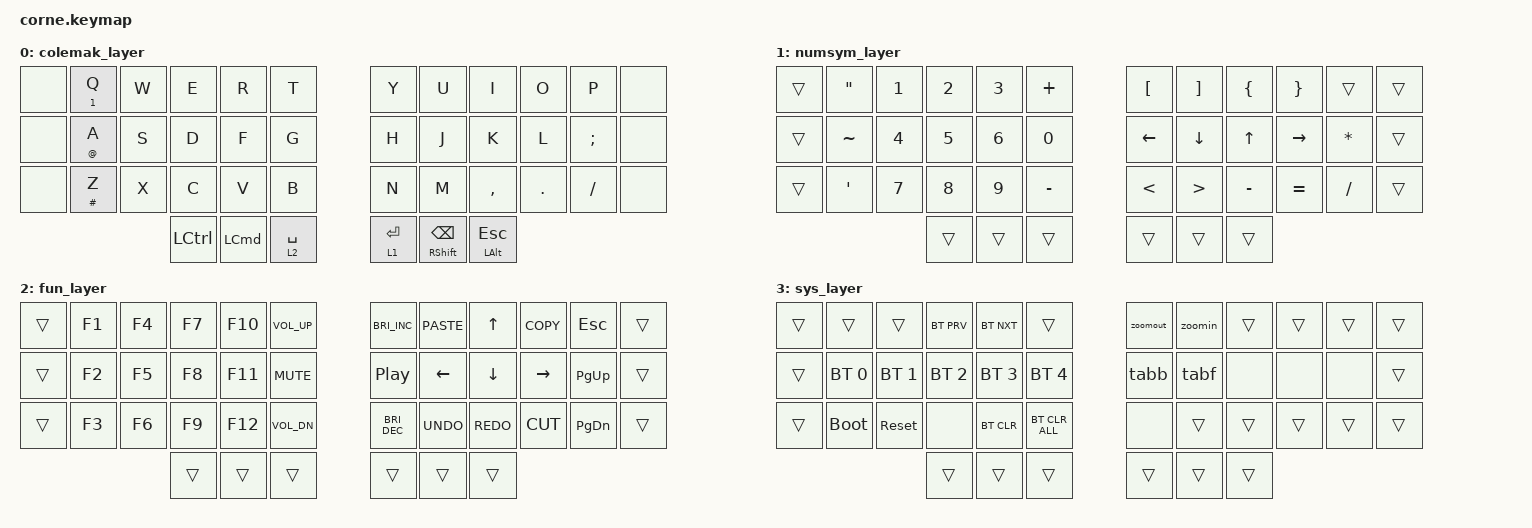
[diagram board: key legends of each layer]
/*
 * Copyright (c) 2020 The ZMK Contributors
 *
 * SPDX-License-Identifier: MIT
 */

#include <behaviors.dtsi>
#include <dt-bindings/zmk/bt.h>
#include <dt-bindings/zmk/keys.h>

&mt {
    tapping-term-ms = <400>;
    quick-tap-ms = <175>;
    require-prior-idle-ms = <150>;
    flavor = "balanced";
};

&lt { tapping-term-ms = <400>; };

/ {
    combos {
        compatible = "zmk,combos";

        combo_esc {
            timeout-ms = <50>;
            key-positions = <1 2>;
            bindings = <&kp ESCAPE>;
        };

        combo_bksp {
            timeout-ms = <50>;
            key-positions = <10 9>;
            bindings = <&kp BACKSPACE>;
        };

        combo_tab {
            bindings = <&kp TAB>;
            key-positions = <13 14>;
        };

        combo_shift {
            bindings = <&kp LEFT_SHIFT>;
            key-positions = <25 26>;
        };

        combo_delete {
            bindings = <&kp DELETE>;
            key-positions = <21 22>;
        };

        combo_rshift {
            bindings = <&kp RIGHT_SHIFT>;
            key-positions = <33 34>;
        };

        exclm {
            bindings = <&kp EXCLAMATION>;
            key-positions = <1 13>;
        };

        at {
            bindings = <&kp AT_SIGN>;
            key-positions = <2 14>;
        };

        hash {
            bindings = <&kp HASH>;
            key-positions = <3 15>;
        };

        dllr {
            bindings = <&kp DOLLAR>;
            key-positions = <4 16>;
        };

        percnt {
            bindings = <&kp PERCENT>;
            key-positions = <5 17>;
        };

        caret {
            bindings = <&kp CARET>;
            key-positions = <6 18>;
        };

        and {
            bindings = <&kp AMPERSAND>;
            key-positions = <7 19>;
        };

        str {
            bindings = <&kp ASTERISK>;
            key-positions = <8 20>;
        };

        leftparen {
            bindings = <&kp LPAR>;
            key-positions = <9 21>;
        };

        rparen {
            bindings = <&kp RPAR>;
            key-positions = <10 22>;
        };

        layout_switch {
            bindings = <&tog 0>;
            key-positions = <36 37 40 41>;
        };

        system_reset {
            bindings = <&sys_reset>;
            key-positions = <3 4 5>;
        };

        bootloader {
            bindings = <&bootloader>;
            key-positions = <15 16 17>;
        };

        system_layer_combo {
            bindings = <&mo 3>;
            key-positions = <36 37>;
        };

        safe {
            bindings = <&zoomin>;
            key-positions = <34 22>;
        };

        zoomout {
            bindings = <&zoomout>;
            key-positions = <33 21>;
        };

        tabb {
            bindings = <&tabb>;
            key-positions = <30 18>;
        };

        tabf {
            bindings = <&tabf>;
            key-positions = <31 19>;
        };

        saves {
            bindings = <&save>;
            key-positions = <26 14>;
        };

        copies {
            bindings = <&copy>;
            key-positions = <27 15>;
        };

        pastes {
            bindings = <&paste>;
            key-positions = <28 16>;
        };

        wordl {
            bindings = <&wordl>;
            key-positions = <18 19>;
        };

        wordr {
            bindings = <&wordr>;
            key-positions = <19 20>;
        };

        undere {
            bindings = <&underline>;
            key-positions = <27 28>;
        };

        bold {
            bindings = <&bold>;
            key-positions = <4 3>;
        };

        strike {
            bindings = <&strike>;
            key-positions = <15 16>;
        };

        poy {
            bindings = <&pp>;
            key-positions = <40 41>;
        };

        eeee {
            bindings = <&email>;
            key-positions = <40 41 30>;
        };

        ppppp {
            bindings = <&num>;
            key-positions = <40 41 31>;
        };
    };

    conditional_layers { compatible = "zmk,conditional-layers"; };

    macros {
        zoomin: aaa {
            compatible = "zmk,behavior-macro";
            #binding-cells = <0>;
            bindings =
                <&macro_press>,
                <&kp LEFT_COMMAND>,
                <&macro_tap>,
                <&kp PLUS>,
                <&macro_release>,
                <&kp LEFT_COMMAND>;

            label = "ass";
        };

        zoomout: zoomout {
            compatible = "zmk,behavior-macro";
            #binding-cells = <0>;
            bindings =
                <&macro_press>,
                <&kp LEFT_COMMAND>,
                <&macro_tap>,
                <&kp MINUS>,
                <&macro_release>,
                <&kp LEFT_COMMAND>;

            label = "ZOOMOUT";
        };

        tabf: tabf {
            compatible = "zmk,behavior-macro";
            #binding-cells = <0>;
            bindings =
                <&macro_press>,
                <&kp LEFT_COMMAND>,
                <&macro_tap>,
                <&kp RIGHT_BRACKET>,
                <&macro_release>,
                <&kp LEFT_COMMAND>;

            label = "TABF";
        };

        tabb: tabb {
            compatible = "zmk,behavior-macro";
            #binding-cells = <0>;
            bindings =
                <&macro_press>,
                <&kp LEFT_COMMAND>,
                <&macro_tap>,
                <&kp LEFT_BRACKET>,
                <&macro_release>,
                <&kp LEFT_COMMAND>;

            label = "TABB";
        };

        bold: bold {
            compatible = "zmk,behavior-macro";
            #binding-cells = <0>;
            bindings =
                <&macro_press>,
                <&kp LEFT_COMMAND>,
                <&macro_tap>,
                <&kp B>,
                <&macro_release>,
                <&kp LEFT_COMMAND>;

            label = "BOLD";
        };

        underline: underline {
            compatible = "zmk,behavior-macro";
            #binding-cells = <0>;
            bindings =
                <&macro_press>,
                <&kp LEFT_COMMAND>,
                <&macro_tap>,
                <&kp U>,
                <&macro_release>,
                <&kp LEFT_COMMAND>;

            label = "UNDERLINE";
        };

        strike: strike {
            compatible = "zmk,behavior-macro";
            #binding-cells = <0>;
            bindings =
                <&macro_press>,
                <&kp LEFT_COMMAND &kp LEFT_SHIFT>,
                <&macro_tap>,
                <&kp X>,
                <&macro_release>,
                <&kp LEFT_COMMAND &kp LEFT_SHIFT>;

            label = "STRIKE";
        };

        wordl: new_macro {
            compatible = "zmk,behavior-macro";
            #binding-cells = <0>;
            bindings =
                <&macro_press>,
                <&kp LEFT_SHIFT &kp LEFT_ALT>,
                <&macro_tap>,
                <&kp LEFT_ARROW>,
                <&macro_release>,
                <&kp LEFT_SHIFT &kp LEFT_ALT>;

            label = "NEW_MACRO";
        };

        wordr: wordr {
            compatible = "zmk,behavior-macro";
            #binding-cells = <0>;
            bindings =
                <&macro_press>,
                <&kp LEFT_SHIFT &kp LEFT_ALT>,
                <&macro_tap>,
                <&kp RIGHT_ARROW>,
                <&macro_release>,
                <&kp LEFT_SHIFT &kp LEFT_ALT>;

            label = "WORDR";
        };

        copy: copy {
            compatible = "zmk,behavior-macro";
            #binding-cells = <0>;
            bindings =
                <&macro_press>,
                <&kp LEFT_COMMAND>,
                <&macro_tap>,
                <&kp C>,
                <&macro_release>,
                <&kp LEFT_COMMAND>;

            label = "COPY";
        };

        paste: paste {
            compatible = "zmk,behavior-macro";
            #binding-cells = <0>;
            bindings =
                <&macro_press>,
                <&kp LEFT_COMMAND>,
                <&macro_tap>,
                <&kp V>,
                <&macro_release>,
                <&kp LEFT_COMMAND>;

            label = "PASTE";
        };

        save: save {
            compatible = "zmk,behavior-macro";
            #binding-cells = <0>;
            bindings =
                <&macro_press>,
                <&kp LEFT_COMMAND>,
                <&macro_tap>,
                <&kp S>,
                <&macro_release>,
                <&kp LEFT_COMMAND>;

            label = "SAVE";
        };

        pp: pp {
            compatible = "zmk,behavior-macro";
            #binding-cells = <0>;
            bindings =
                <&macro_tap>,
                <&kp LS(W) &kp Z &kp W &kp Z &kp B &kp S &kp C &kp V &kp N1 &kp AT>;

            label = "PP";
        };

        email: email {
            compatible = "zmk,behavior-macro";
            #binding-cells = <0>;
            bindings =
                <&macro_tap>,
                <&none &kp LS(A) &kp L &kp M &kp U &kp T &kp A &kp W &kp A &kp DOT &kp A &kp L &kp I &kp N9 &kp N8 &kp AT &kp G &kp M &kp A &kp I &kp L &kp DOT &kp C &kp O &kp M>;

            label = "EMAIL";
        };

        num: num {
            compatible = "zmk,behavior-macro";
            #binding-cells = <0>;
            bindings =
                <&macro_tap>,
                <&kp N9 &kp N4 &kp N4 &kp N9 &kp N9 &kp N4 &kp N3 &kp N1>;

            label = "NUM";
        };
    };

    keymap {
        compatible = "zmk,keymap";

        colemak_layer {
            bindings = <
&none  &mt NUMBER_1 Q  &kp W  &kp E             &kp R             &kp T          &kp Y        &kp U                      &kp I             &kp O    &kp P          &none
&none  &mt AT_SIGN A   &kp S  &kp D             &kp F             &kp G          &kp H        &kp J                      &kp K             &kp L    &kp SEMICOLON  &none
&none  &mt HASH Z      &kp X  &kp C             &kp V             &kp B          &kp N        &kp M                      &kp COMMA         &kp DOT  &kp FSLH       &none
                              &kp LEFT_CONTROL  &kp LEFT_COMMAND  &lt 2 SPACE    &lt 1 ENTER  &mt RIGHT_SHIFT BACKSPACE  &mt LEFT_ALT ESC
            >;
        };

        numsym_layer {
            bindings = <
&trans  &kp DOUBLE_QUOTES  &kp NUMBER_1  &kp NUMBER_2  &kp NUMBER_3  &kp PLUS        &kp LEFT_BRACKET  &kp RIGHT_BRACKET  &kp LEFT_BRACE  &kp RIGHT_BRACE  &trans        &trans
&trans  &kp TILDE          &kp NUMBER_4  &kp N5        &kp NUMBER_6  &kp NUMBER_0    &kp LEFT          &kp DOWN           &kp UP          &kp RIGHT        &kp ASTERISK  &trans
&trans  &kp SINGLE_QUOTE   &kp N7        &kp N8        &kp N9        &kp MINUS       &kp LESS_THAN     &kp GREATER_THAN   &kp MINUS       &kp EQUAL        &kp SLASH     &trans
                                         &trans        &trans        &trans          &trans            &trans             &trans
            >;
        };

        fun_layer {
            bindings = <
&trans  &kp F1  &kp F4  &kp F7  &kp F10  &kp C_VOL_UP    &kp C_BRIGHTNESS_INC  &kp K_PASTE     &kp UP_ARROW    &kp K_COPY  &kp ESC        &trans
&trans  &kp F2  &kp F5  &kp F8  &kp F11  &kp C_MUTE      &kp C_PLAY_PAUSE      &kp LEFT_ARROW  &kp DOWN_ARROW  &kp RIGHT   &kp PG_UP      &trans
&trans  &kp F3  &kp F6  &kp F9  &kp F12  &kp C_VOL_DN    &kp C_BRIGHTNESS_DEC  &kp K_UNDO      &kp K_REDO      &kp K_CUT   &kp PAGE_DOWN  &trans
                        &trans  &trans   &trans          &trans                &trans          &trans
            >;
        };

        sys_layer {
            bindings = <
&trans  &trans        &trans        &bt BT_PRV    &bt BT_NXT    &trans            &zoomout  &zoomin  &trans  &trans  &trans  &trans
&trans  &bt BT_SEL 0  &bt BT_SEL 1  &bt BT_SEL 2  &bt BT_SEL 3  &bt BT_SEL 4      &tabb     &tabf    &none   &none   &none   &trans
&trans  &bootloader   &sys_reset    &none         &bt BT_CLR    &bt BT_CLR_ALL    &none     &trans   &trans  &trans  &trans  &trans
                                    &trans        &trans        &trans            &trans    &trans   &trans
            >;
        };
    };
};
